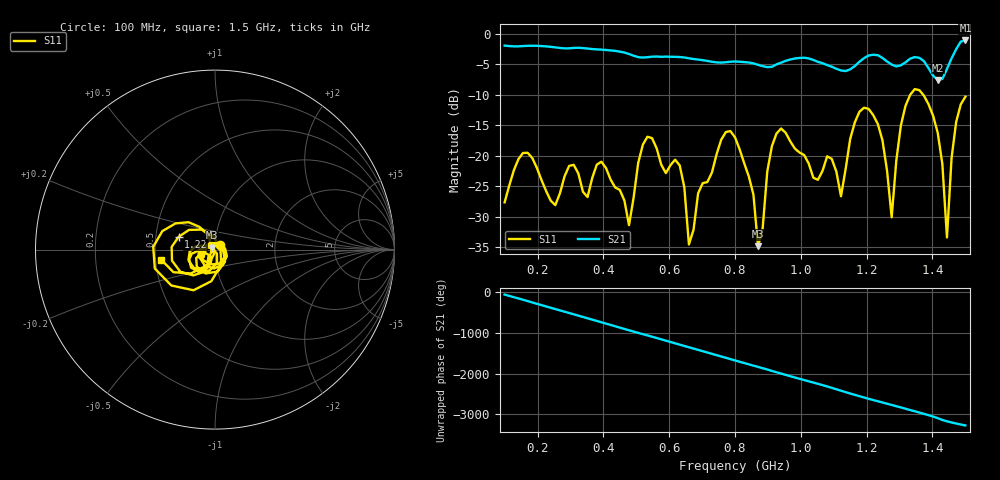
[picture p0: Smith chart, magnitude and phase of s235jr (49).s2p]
! NanoVNA-App
! Date: 2025-09-26 09:45:10
! Start: 100MHz Stop: 1,5GHz Points: 101
! S-Parameter data: F S11 S21 S12 S22
# Hz S RI R 50
!  Frequency  S11_Real  S11_Imag  S21_Real  S21_Imag  S12_Real  S12_Imag  S22_Real  S22_Imag
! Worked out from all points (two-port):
!   101 points, 100 MHz to 1.5 GHz, reference 50 ohm
!   highest |S21| = -1.11 dB at 1.5 GHz (marker M1); lowest = -7.6 dB at 1.416 GHz (marker M2)
!   |S21| within 3 dB of the highest: start of sweep to 668.9 MHz; 1.19 GHz to 1.251 GHz (61.55 MHz wide, 5.04 % of centre) (the widest 2 of 5)
!   lowest |S11| = -34.8 dB at 870 MHz (marker M3), VSWR 1.04, Z = 48.5 + j0.997 ohm
!   |S11| at or under -10 dB: start of sweep to 1.333 GHz; 1.372 GHz to end of sweep
!   S12 and S22 are empty: the file has one direction only
!   S11 on the Smith chart (normalised r, x): 100 MHz: 1.06, +0.06; 1.22 GHz: 0.66, +0.10; 1.5 GHz: 0.54, -0.07
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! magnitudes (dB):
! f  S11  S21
! 100 MHz  -27.6  -2.0
! 156 MHz  -19.6  -2.0
! 338 MHz  -25.9  -2.4
! 394 MHz  -21.0  -2.6
! 478 MHz  -31.4  -3.3
! 520 MHz  -18.2  -3.9
! 576 MHz  -21.5  -3.8
! 632 MHz  -21.6  -3.8
! 660 MHz  -34.5  -4.0
! 800 MHz  -17.0  -4.6
! 870 MHz  -34.8  -5.1
! 926 MHz  -16.4  -5.0
! 1.038 GHz  -23.6  -4.3
! 1.122 GHz  -26.6  -6.0
! 1.164 GHz  -14.5  -5.3
! 1.22 GHz  -13.3  -3.4
! 1.276 GHz  -30.1  -5.1
! 1.332 GHz  -10.0  -4.1
! 1.416 GHz  -16.3  -7.6
! 1.444 GHz  -33.4  -5.8
! 1.472 GHz  -14.4  -2.5
! 1.5 GHz  -10.3  -1.1
